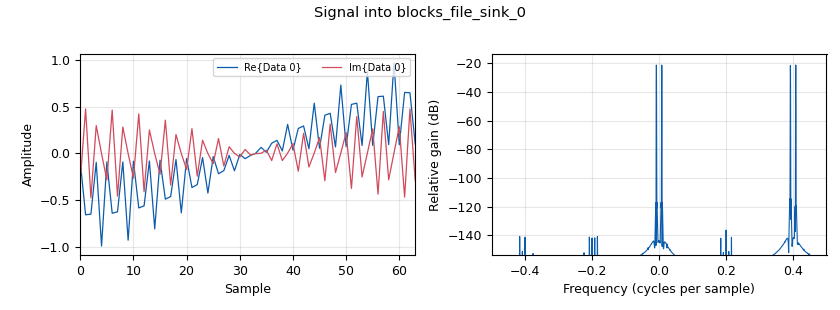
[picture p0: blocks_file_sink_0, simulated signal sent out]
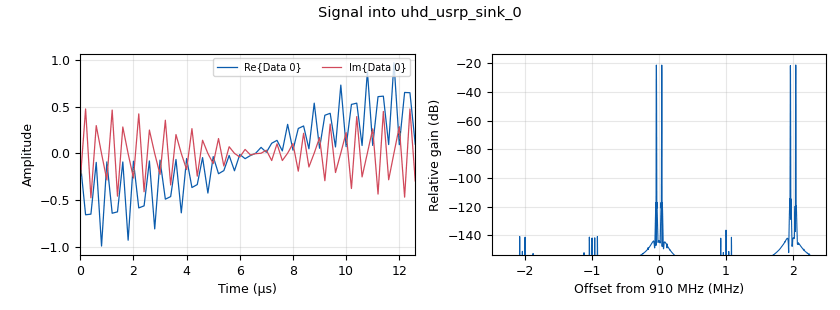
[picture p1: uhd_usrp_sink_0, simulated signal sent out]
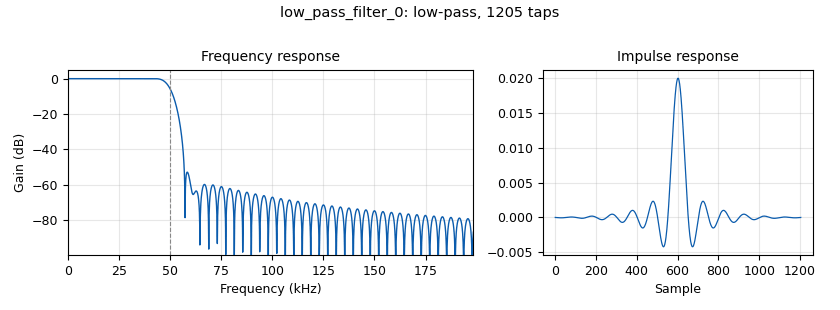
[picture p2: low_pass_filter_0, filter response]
<?xml version='1.0' encoding='utf-8'?>
<?grc format='1' created='3.7.9'?>
<flow_graph>
<block>
<key>options</key>
<param><key>id</key><value>top_block</value></param>
<param><key>category</key><value>Custom</value></param>
<param><key>generate_options</key><value>qt_gui</value></param>
</block>
<block>
<key>variable</key>
<param><key>id</key><value>adc_samp_rate</value></param>
<param><key>value</key><value>5000000</value></param>
</block>
<block>
<key>variable</key>
<param><key>id</key><value>samp_rate</value></param>
<param><key>value</key><value>5000000</value></param>
</block>
<block>
<key>analog_sig_source_x</key>
<param><key>id</key><value>analog_sig_source_x_0</value></param>
<param><key>amp</key><value>1</value></param>
<param><key>freq</key><value>2000000</value></param>
<param><key>offset</key><value>1</value></param>
<param><key>type</key><value>complex</value></param>
<param><key>samp_rate</key><value>samp_rate</value></param>
<param><key>waveform</key><value>analog.GR_COS_WAVE</value></param>
</block>
<block>
<key>analog_sig_source_x</key>
<param><key>id</key><value>analog_sig_source_x_0_0</value></param>
<param><key>amp</key><value>0.5</value></param>
<param><key>freq</key><value>40000</value></param>
<param><key>offset</key><value>0</value></param>
<param><key>type</key><value>float</value></param>
<param><key>samp_rate</key><value>samp_rate</value></param>
<param><key>waveform</key><value>analog.GR_COS_WAVE</value></param>
</block>
<block>
<key>analog_sig_source_x</key>
<param><key>id</key><value>analog_sig_source_x_0_1</value></param>
<param><key>amp</key><value>1</value></param>
<param><key>freq</key><value>2000000</value></param>
<param><key>offset</key><value>0</value></param>
<param><key>type</key><value>complex</value></param>
<param><key>samp_rate</key><value>samp_rate</value></param>
<param><key>waveform</key><value>analog.GR_COS_WAVE</value></param>
</block>
<block>
<key>blocks_file_sink</key>
<param><key>id</key><value>blocks_file_sink_0</value></param>
<param><key>file</key><value>/home/cna22/git/Distributed-Gen2-UHF-RFID-Reader/gr-rfid/misc/data/2MHz_ssb_sink</value></param>
<param><key>type</key><value>complex</value></param>
</block>
<block>
<key>blocks_file_sink</key>
<param><key>id</key><value>blocks_file_sink_0_0</value></param>
<param><key>file</key><value>/home/cna22/git/Distributed-Gen2-UHF-RFID-Reader/gr-rfid/misc/data/2MHz_ssb_source</value></param>
<param><key>type</key><value>complex</value></param>
</block>
<block>
<key>blocks_file_sink</key>
<param><key>id</key><value>blocks_file_sink_0_0_0</value></param>
<param><key>file</key><value>/home/cna22/git/Distributed-Gen2-UHF-RFID-Reader/gr-rfid/misc/data/filter</value></param>
<param><key>type</key><value>complex</value></param>
</block>
<block>
<key>blocks_file_sink</key>
<param><key>id</key><value>blocks_file_sink_0_0_0_0</value></param>
<param><key>file</key><value>/home/cna22/git/Distributed-Gen2-UHF-RFID-Reader/gr-rfid/misc/data/lowpass</value></param>
<param><key>type</key><value>complex</value></param>
</block>
<block>
<key>blocks_float_to_complex</key>
<param><key>id</key><value>blocks_float_to_complex_0</value></param>
</block>
<block>
<key>blocks_moving_average_xx</key>
<param><key>id</key><value>blocks_moving_average_xx_0</value></param>
<param><key>length</key><value>6</value></param>
<param><key>max_iter</key><value>50</value></param>
<param><key>scale</key><value>1</value></param>
<param><key>type</key><value>complex</value></param>
</block>
<block>
<key>blocks_multiply_xx</key>
<param><key>id</key><value>blocks_multiply_xx_0</value></param>
<param><key>type</key><value>complex</value></param>
</block>
<block>
<key>blocks_multiply_xx</key>
<param><key>id</key><value>blocks_multiply_xx_0_0</value></param>
<param><key>type</key><value>complex</value></param>
</block>
<block>
<key>blocks_null_sink</key>
<param><key>id</key><value>blocks_null_sink_0</value></param>
<param><key>bus_conns</key><value>[[0,],]</value></param>
<param><key>_enabled</key><value>0</value></param>
<param><key>type</key><value>complex</value></param>
</block>
<block>
<key>low_pass_filter</key>
<param><key>id</key><value>low_pass_filter_0</value></param>
<param><key>cutoff_freq</key><value>50000</value></param>
<param><key>decim</key><value>5</value></param>
<param><key>type</key><value>fir_filter_ccf</value></param>
<param><key>gain</key><value>1</value></param>
<param><key>samp_rate</key><value>adc_samp_rate</value></param>
<param><key>width</key><value>10000</value></param>
<param><key>win</key><value>firdes.WIN_HAMMING</value></param>
</block>
<block>
<key>uhd_usrp_sink</key>
<param><key>id</key><value>uhd_usrp_sink_0</value></param>
<param><key>ant0</key><value>TX/RX</value></param>
<param><key>center_freq0</key><value>910000000</value></param>
<param><key>norm_gain0</key><value>False</value></param>
<param><key>gain0</key><value>15</value></param>
<param><key>clock_rate</key><value>0.0</value></param>
<param><key>dev_addr</key><value>"addr=192.168.10.2"</value></param>
<param><key>dev_args</key><value>"recv_frame_size=256"</value></param>
<param><key>type</key><value>fc32</value></param>
<param><key>samp_rate</key><value>samp_rate</value></param>
<param><key>hide_cmd_port</key><value>False</value></param>
<param><key>sync</key><value></value></param>
<param><key>len_tag_name</key><value></value></param>
</block>
<block>
<key>uhd_usrp_source</key>
<param><key>id</key><value>uhd_usrp_source_0</value></param>
<param><key>ant0</key><value>RX2</value></param>
<param><key>center_freq0</key><value>910000000</value></param>
<param><key>dc_offs_enb0</key><value>False</value></param>
<param><key>iq_imbal_enb0</key><value>""</value></param>
<param><key>norm_gain0</key><value>False</value></param>
<param><key>gain0</key><value>15</value></param>
<param><key>clock_rate</key><value>0.0</value></param>
<param><key>dev_addr</key><value>"addr=192.168.10.2"</value></param>
<param><key>dev_args</key><value>"recv_frame_size=256"</value></param>
<param><key>type</key><value>fc32</value></param>
<param><key>samp_rate</key><value>adc_samp_rate</value></param>
<param><key>hide_cmd_port</key><value>False</value></param>
<param><key>sync</key><value></value></param>
</block>
<connection><source_block_id>analog_sig_source_x_0</source_block_id><sink_block_id>blocks_multiply_xx_0</sink_block_id><source_key>0</source_key><sink_key>1</sink_key></connection>
<connection><source_block_id>analog_sig_source_x_0_0</source_block_id><sink_block_id>blocks_float_to_complex_0</sink_block_id><source_key>0</source_key><sink_key>0</sink_key></connection>
<connection><source_block_id>analog_sig_source_x_0_1</source_block_id><sink_block_id>blocks_multiply_xx_0_0</sink_block_id><source_key>0</source_key><sink_key>1</sink_key></connection>
<connection><source_block_id>blocks_float_to_complex_0</source_block_id><sink_block_id>blocks_multiply_xx_0</sink_block_id><source_key>0</source_key><sink_key>0</sink_key></connection>
<connection><source_block_id>blocks_moving_average_xx_0</source_block_id><sink_block_id>blocks_file_sink_0_0_0</sink_block_id><source_key>0</source_key><sink_key>0</sink_key></connection>
<connection><source_block_id>blocks_multiply_xx_0</source_block_id><sink_block_id>blocks_file_sink_0</sink_block_id><source_key>0</source_key><sink_key>0</sink_key></connection>
<connection><source_block_id>blocks_multiply_xx_0</source_block_id><sink_block_id>uhd_usrp_sink_0</sink_block_id><source_key>0</source_key><sink_key>0</sink_key></connection>
<connection><source_block_id>blocks_multiply_xx_0_0</source_block_id><sink_block_id>blocks_file_sink_0_0</sink_block_id><source_key>0</source_key><sink_key>0</sink_key></connection>
<connection><source_block_id>blocks_multiply_xx_0_0</source_block_id><sink_block_id>blocks_moving_average_xx_0</sink_block_id><source_key>0</source_key><sink_key>0</sink_key></connection>
<connection><source_block_id>blocks_multiply_xx_0_0</source_block_id><sink_block_id>low_pass_filter_0</sink_block_id><source_key>0</source_key><sink_key>0</sink_key></connection>
<connection><source_block_id>low_pass_filter_0</source_block_id><sink_block_id>blocks_file_sink_0_0_0_0</sink_block_id><source_key>0</source_key><sink_key>0</sink_key></connection>
<connection><source_block_id>low_pass_filter_0</source_block_id><sink_block_id>blocks_null_sink_0</sink_block_id><source_key>0</source_key><sink_key>0</sink_key></connection>
<connection><source_block_id>uhd_usrp_source_0</source_block_id><sink_block_id>blocks_multiply_xx_0_0</sink_block_id><source_key>0</source_key><sink_key>0</sink_key></connection>
</flow_graph>
